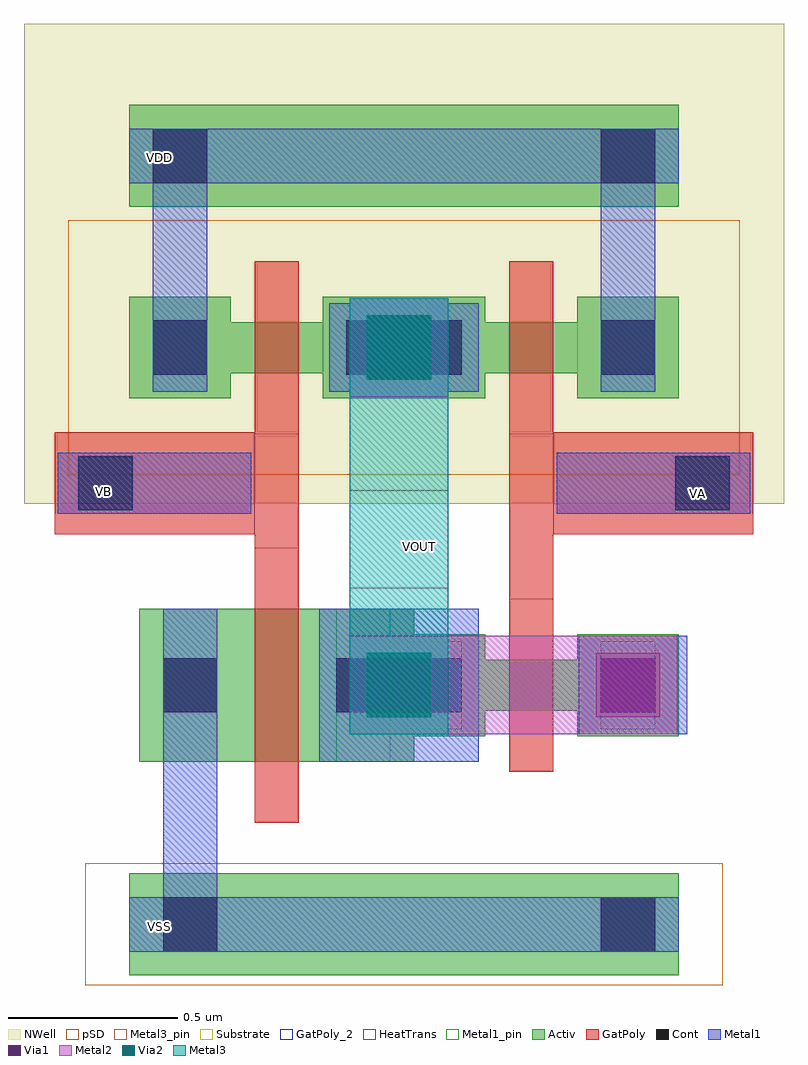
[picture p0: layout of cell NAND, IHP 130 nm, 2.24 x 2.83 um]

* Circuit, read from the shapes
.subckt NAND VA VB VDD VOUT VSS
XM1 n1 VB VSS VSS sg13_lv_nmos w=0.45u l=0.13u
XM2 VOUT VA n1 VSS sg13_lv_nmos w=0.15u l=0.13u
XM3 VOUT VB VDD VDD sg13_lv_pmos w=0.15u l=0.13u
XM4 VDD VA VOUT VDD sg13_lv_pmos w=0.15u l=0.13u
.ends

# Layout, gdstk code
import gdstk
lib = gdstk.Library(unit=1e-6, precision=5e-09)
def R(c, l, rs):  # rectangles x0, y0, x1, y1
    for r in rs: c.add(gdstk.rectangle(r[:2], r[2:], *l))
Activ = (1, 0)
GatPoly = (5, 0)
GatPoly_2 = (5, 2)
Cont = (6, 0)
Metal1 = (8, 0)
Metal1_pin = (8, 2)
Metal2 = (10, 0)
pSD = (14, 0)
Via1 = (19, 0)
Via2 = (29, 0)
Metal3 = (30, 0)
Metal3_pin = (30, 2)
NWell = (31, 0)
Substrate = (40, 0)
HeatTrans = (51, 0)

nmos = lib.new_cell('nmos')
R(nmos, Activ, [(0,0,0.3,0.3), (0.57,0,0.87,0.3), (0,0.075,0.87,0.225)])
R(nmos, GatPoly, [(0.37,-0.105,0.5,0.405)])
R(nmos, GatPoly_2, [(0.37,-0.105,0.5,0.405)])
R(nmos, Cont, [(0.07,0.07,0.23,0.23), (0.64,0.07,0.8,0.23)])
R(nmos, Metal1, [(0.07,0.02,0.23,0.28), (0.64,0.02,0.8,0.28)])
R(nmos, Metal1_pin, [(0.07,0.02,0.23,0.28), (0.64,0.02,0.8,0.28)])
R(nmos, HeatTrans, [(0.37,-0.105,0.5,0.405)])
nmos.add(gdstk.Label('nmos', (0.435,0.15), layer=63, texttype=0))
nmos.add(gdstk.Label('nmos', (0.435,0.15), layer=51, texttype=0))

pmos = lib.new_cell('pmos')
R(pmos, Activ, [(0,0,0.3,0.3), (0.57,0,0.87,0.3), (0,0.075,0.87,0.225)])
R(pmos, GatPoly, [(0.37,-0.105,0.5,0.405), (0.37,-0.105,0.5,0.405)])
R(pmos, Cont, [(0.07,0.07,0.23,0.23), (0.64,0.07,0.8,0.23)])
R(pmos, Metal1, [(0.07,0.02,0.23,0.28), (0.07,0.02,0.23,0.28), (0.64,0.02,0.8,0.28), (0.64,0.02,0.8,0.28)])
R(pmos, pSD, [(-0.18,-0.225,1.05,0.525)])
R(pmos, NWell, [(-0.31,-0.31,1.18,0.61)])
R(pmos, Substrate, [(0.57,0,0.87,0.3)])
R(pmos, HeatTrans, [(0.37,-0.105,0.5,0.405)])
pmos.add(gdstk.Label('pmos', (0.435,0.15), layer=63, texttype=0))
pmos.add(gdstk.Label('pmos', (0.435,0.15), layer=51, texttype=0))

via1_constraint = lib.new_cell('Via1_constraint')
R(via1_constraint, Metal1, [(-0.005,0.005,0.285,0.295)])
R(via1_constraint, Metal2, [(-0.005,0.005,0.285,0.295)])
R(via1_constraint, Via1, [(0.045,0.055,0.235,0.245)])

nmos_1 = lib.new_cell('nmos$1')
R(nmos_1, Activ, [(0,0,0.3,0.3), (0,0,0.81,0.45), (0.51,0,0.81,0.3)])
R(nmos_1, GatPoly, [(0.34,-0.18,0.47,0.63)])
R(nmos_1, GatPoly_2, [(0.34,-0.18,0.47,0.63)])
R(nmos_1, Cont, [(0.07,0.145,0.23,0.305), (0.58,0.145,0.74,0.305)])
R(nmos_1, Metal1, [(0.07,0,0.23,0.45), (0.58,0,0.74,0.45)])
R(nmos_1, Metal1_pin, [(0.07,0,0.23,0.45), (0.58,0,0.74,0.45)])
R(nmos_1, HeatTrans, [(0.34,-0.18,0.47,0.63)])
nmos_1.add(gdstk.Label('nmos', (0.405,0.225), layer=63, texttype=0))
nmos_1.add(gdstk.Label('nmos', (0.405,0.225), layer=51, texttype=0))

via2_constraint = lib.new_cell('Via2_constraint')
R(via2_constraint, Metal2, [(0,0,0.29,0.29)])
R(via2_constraint, Via2, [(0.05,0.05,0.24,0.24)])
R(via2_constraint, Metal3, [(0,0,0.29,0.29)])

nand = lib.new_cell('NAND')
R(nand, Activ, [(0.31,0.03,1.93,0.33), (0.31,2.295,1.93,2.595)])
R(nand, GatPoly, [(0.09,1.33,0.68,1.63), (1.56,1.33,2.15,1.63)])
R(nand, GatPoly_2, [(0.09,1.33,0.68,1.63), (1.56,1.33,2.15,1.63)])
R(nand, Cont, [(0.41,0.1,0.57,0.26), (1.7,0.1,1.86,0.26), (0.92,0.805,1.29,0.965), (0.16,1.4,0.32,1.56), (1.92,1.4,2.08,1.56), (0.95,1.8,1.29,1.96), (0.38,2.365,0.54,2.525), (1.7,2.365,1.86,2.525)])
R(nand, Metal1, [(0.31,0.1,1.93,0.26), (0.87,0.66,1.34,1.11), (1.925,0.74,1.955,1.03), (0.1,1.39,0.67,1.57), (1.57,1.39,2.14,1.57), (0.9,1.75,1.34,2.01), (0.31,2.365,1.93,2.525)])
R(nand, Metal1_pin, [(0.31,0.1,1.93,0.26), (0.1,1.39,0.67,1.57), (1.57,1.39,2.14,1.57), (0.31,2.365,1.93,2.525)])
R(nand, pSD, [(0.18,0,2.06,0.36)])
R(nand, Metal3_pin, [(0.96,1.17,1.25,1.46)])
R(nand, NWell, [(0,2.34,2.24,2.835)])
nand.add(gdstk.FlexPath([(1.635,0.885),(1.25,0.885)], 0.29, ends="flush", simple_path=True, layer=10, datatype=0))  # Metal2
nand.add(gdstk.FlexPath([(1.105,1.03),(1.105,1.735)], 0.29, ends="flush", simple_path=True, layer=30, datatype=0))  # Metal3
nand.add(gdstk.FlexPath([(0.49,0.66),(0.49,0.26)], 0.16, ends="flush", simple_path=True, layer=8, datatype=0))  # Metal1
nand.add(gdstk.FlexPath([(0.46,2.01),(0.46,2.365)], 0.16, ends="flush", simple_path=True, layer=8, datatype=0))  # Metal1
nand.add(gdstk.FlexPath([(1.78,2.01),(1.78,2.365)], 0.16, ends="flush", simple_path=True, layer=8, datatype=0))  # Metal1
nand.add(gdstk.FlexPath([(1.495,1.625),(1.495,1.14)], 0.13, ends="flush", simple_path=True, layer=5, datatype=0))  # GatPoly
nand.add(gdstk.FlexPath([(0.745,1.625),(0.745,1.29)], 0.13, ends="flush", simple_path=True, layer=5, datatype=0))  # GatPoly
nand.add(gdstk.Reference(nmos, (1.06,0.735)))
nand.add(gdstk.Reference(pmos, (0.31,1.73)))
nand.add(gdstk.Reference(pmos, (1.06,1.73)))
nand.add(gdstk.Reference(via1_constraint, (0.965,1.73)))
nand.add(gdstk.Reference(via1_constraint, (1.64,0.735)))
nand.add(gdstk.Reference(nmos_1, (0.34,0.66)))
nand.add(gdstk.Reference(via2_constraint, (0.96,0.74)))
nand.add(gdstk.Reference(via2_constraint, (0.96,1.735)))
nand.add(gdstk.Label('VDD', (0.4,2.44), layer=8, texttype=25))
nand.add(gdstk.Label('VSS', (0.4,0.175), layer=8, texttype=25))
nand.add(gdstk.Label('VB', (0.235,1.455), layer=8, texttype=25))
nand.add(gdstk.Label('VA', (1.985,1.45), layer=8, texttype=25))
nand.add(gdstk.Label('VOUT', (1.165,1.295), layer=30, texttype=25))

lib.write_gds('NAND.gds')
